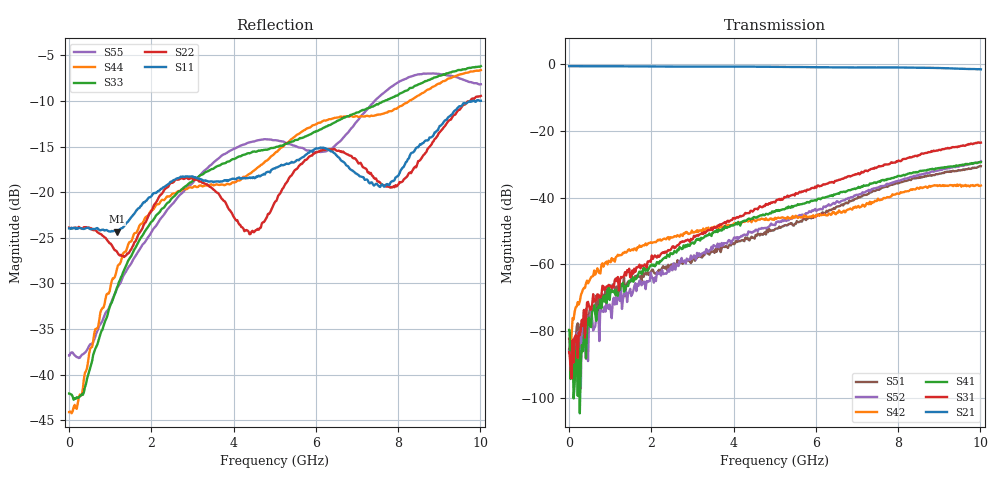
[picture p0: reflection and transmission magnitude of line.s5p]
! kindly provided by zodoczi
! https://github.com/Qucs/qucsator/issues/42
! 1 Hz data is simulated
#  Hz  S  RI  R  50
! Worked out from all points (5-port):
!   402 points, 1 Hz to 10.01 GHz, reference 50 ohm
!   strongest paths, dB at 1 Hz, 2.485 GHz, 5.01 GHz, 7.51 GHz, 10.01 GHz:
!     S21: -0.7, -0.8, -0.8, -1.0, -1.6
!     S31: -86.3, -55.3, -41.5, -30.8, -23.5
!     S41: -79.6, -56.7, -44.2, -35.3, -29.4
!     S42: -82.2, -52.0, -46.0, -40.3, -36.4
!     S52: -85.9, -60.6, -48.3, -37.0, -29.1
!     S51: -85.6, -60.0, -49.4, -37.6, -30.6
!   lowest |S11| = -24.3 dB at 1.16 GHz (marker M1), VSWR 1.13, Z = 54.4 - j4.59 ohm
!   |S11| at or under -10 dB: start of sweep to 9.819 GHz; 9.844 GHz to 9.9 GHz (56.39 MHz wide, 0.571 % of centre)
